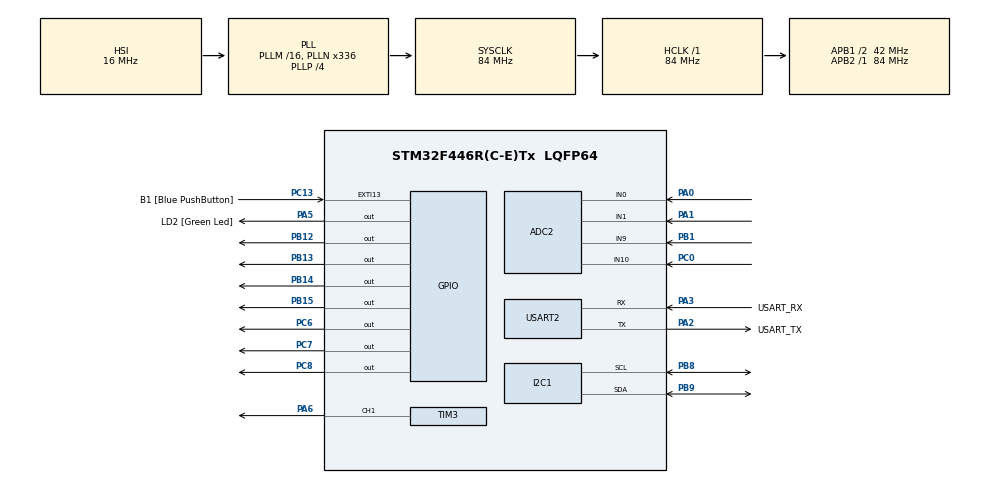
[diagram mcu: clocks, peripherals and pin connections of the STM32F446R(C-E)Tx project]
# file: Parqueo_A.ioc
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ADC2.Channel-1\#ChannelRegularConversion=ADC_CHANNEL_1
ADC2.Channel-2\#ChannelRegularConversion=ADC_CHANNEL_9
ADC2.Channel-3\#ChannelRegularConversion=ADC_CHANNEL_10
ADC2.ContinuousConvMode=ENABLE
ADC2.DMAContinuousRequests=ENABLE
ADC2.EOCSelection=ADC_EOC_SEQ_CONV
ADC2.NbrOfConversion=4
ADC2.NbrOfConversionFlag=1
ADC2.Rank-1\#ChannelRegularConversion=2
ADC2.Rank-2\#ChannelRegularConversion=3
ADC2.Rank-3\#ChannelRegularConversion=4
ADC2.SamplingTime-0\#ChannelRegularConversion=ADC_SAMPLETIME_480CYCLES
ADC2.SamplingTime-1\#ChannelRegularConversion=ADC_SAMPLETIME_480CYCLES
ADC2.SamplingTime-2\#ChannelRegularConversion=ADC_SAMPLETIME_480CYCLES
ADC2.SamplingTime-3\#ChannelRegularConversion=ADC_SAMPLETIME_480CYCLES
ADC2.ScanConvMode=ENABLE
Dma.ADC2.0.Direction=DMA_PERIPH_TO_MEMORY
Dma.ADC2.0.FIFOMode=DMA_FIFOMODE_DISABLE
Dma.ADC2.0.Instance=DMA2_Stream2
Dma.ADC2.0.MemDataAlignment=DMA_MDATAALIGN_HALFWORD
Dma.ADC2.0.MemInc=DMA_MINC_ENABLE
Dma.ADC2.0.Mode=DMA_CIRCULAR
Dma.ADC2.0.PeriphDataAlignment=DMA_PDATAALIGN_HALFWORD
Dma.ADC2.0.PeriphInc=DMA_PINC_DISABLE
Dma.ADC2.0.Priority=DMA_PRIORITY_LOW
Dma.Request0=ADC2
Dma.Request1=TIM3_CH1/TRIG
Dma.TIM3_CH1/TRIG.1.Direction=DMA_MEMORY_TO_PERIPH
Dma.TIM3_CH1/TRIG.1.FIFOMode=DMA_FIFOMODE_DISABLE
Dma.TIM3_CH1/TRIG.1.Instance=DMA1_Stream4
Dma.TIM3_CH1/TRIG.1.MemDataAlignment=DMA_MDATAALIGN_HALFWORD
Dma.TIM3_CH1/TRIG.1.MemInc=DMA_MINC_ENABLE
Dma.TIM3_CH1/TRIG.1.Mode=DMA_NORMAL
Dma.TIM3_CH1/TRIG.1.PeriphDataAlignment=DMA_PDATAALIGN_HALFWORD
Dma.TIM3_CH1/TRIG.1.PeriphInc=DMA_PINC_DISABLE
Dma.TIM3_CH1/TRIG.1.Priority=DMA_PRIORITY_LOW
I2C1.OwnAddress=0x27
Mcu.Family=STM32F4
Mcu.Name=STM32F446R(C-E)Tx
Mcu.Package=LQFP64
NVIC.DMA1_Stream4_IRQn=true\:0\:0\:false\:false\:true\:false\:true\:true
NVIC.DMA2_Stream2_IRQn=true\:0\:0\:false\:false\:true\:false\:true\:true
NVIC.I2C1_ER_IRQn=true\:0\:0\:false\:false\:true\:true\:true\:true
NVIC.I2C1_EV_IRQn=true\:0\:0\:false\:false\:true\:true\:true\:true
NVIC.PriorityGroup=NVIC_PRIORITYGROUP_0
PA0-WKUP.Signal=ADCx_IN0
PA1.Signal=ADCx_IN1
PA13.GPIO_Label=TMS
PA13.Mode=Serial_Wire
PA13.Signal=SYS_JTMS-SWDIO
PA14.GPIO_Label=TCK
PA14.Mode=Serial_Wire
PA14.Signal=SYS_JTCK-SWCLK
PA2.GPIO_Label=USART_TX
PA2.Mode=Asynchronous
PA2.Signal=USART2_TX
PA3.GPIO_Label=USART_RX
PA3.Mode=Asynchronous
PA3.Signal=USART2_RX
PA5.GPIO_Label=LD2 [Green Led]
PA5.Signal=GPIO_Output
PA6.Signal=S_TIM3_CH1
PB1.Signal=ADCx_IN9
PB12.Signal=GPIO_Output
PB13.Signal=GPIO_Output
PB14.Signal=GPIO_Output
PB15.Signal=GPIO_Output
PB3.GPIO_Label=SWO
PB3.Signal=SYS_JTDO-SWO
PB8.GPIO_Pu=GPIO_PULLUP
PB8.Mode=I2C
PB8.Signal=I2C1_SCL
PB9.GPIO_Pu=GPIO_PULLUP
PB9.Mode=I2C
PB9.Signal=I2C1_SDA
PC0.Signal=ADCx_IN10
PC13.GPIO_Label=B1 [Blue PushButton]
PC13.GPIO_ModeDefaultEXTI=GPIO_MODE_IT_FALLING
PC13.Signal=GPXTI13
PC14-OSC32_IN.Mode=LSE-External-Oscillator
PC14-OSC32_IN.Signal=RCC_OSC32_IN
PC15-OSC32_OUT.Mode=LSE-External-Oscillator
PC15-OSC32_OUT.Signal=RCC_OSC32_OUT
PC6.Signal=GPIO_Output
PC7.Signal=GPIO_Output
PC8.Signal=GPIO_Output
PH0-OSC_IN.Mode=HSE-External-Oscillator
PH0-OSC_IN.Signal=RCC_OSC_IN
PH1-OSC_OUT.Mode=HSE-External-Oscillator
PH1-OSC_OUT.Signal=RCC_OSC_OUT
ProjectManager.HeapSize=0x200
ProjectManager.StackSize=0x400
ProjectManager.TargetToolchain=STM32CubeIDE
RCC.48MHZClocksFreq_Value=84000000
RCC.AHBFreq_Value=84000000
RCC.APB1CLKDivider=RCC_HCLK_DIV2
RCC.APB1Freq_Value=42000000
RCC.APB1TimFreq_Value=84000000
RCC.APB2Freq_Value=84000000
RCC.APB2TimFreq_Value=84000000
RCC.CortexFreq_Value=84000000
RCC.FLatency-AdvancedSettings=FLASH_LATENCY_2
RCC.HCLKFreq_Value=84000000
RCC.HSE_VALUE=8000000
RCC.HSI_VALUE=16000000
RCC.PLLN=336
RCC.PLLP=RCC_PLLP_DIV4
RCC.SYSCLKFreq_VALUE=84000000
RCC.SYSCLKSource=RCC_SYSCLKSOURCE_PLLCLK
RCC.USBFreq_Value=168000000
RCC.VCOOutputFreq_Value=336000000
SH.ADCx_IN0.0=ADC2_IN0,IN0
SH.ADCx_IN1.0=ADC2_IN1,IN1
SH.ADCx_IN10.0=ADC2_IN10,IN10
SH.ADCx_IN9.0=ADC2_IN9,IN9
SH.S_TIM3_CH1.0=TIM3_CH1,PWM Generation1 CH1
TIM3.Channel-PWM\ Generation1\ CH1=TIM_CHANNEL_1
TIM3.Period=105-1
USART2.VirtualMode=VM_ASYNC
VP_TIM3_VS_ClockSourceINT.Mode=Internal
board=NUCLEO-F446RE

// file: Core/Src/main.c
/* USER CODE BEGIN Header */
/**
  ******************************************************************************
  * @file           : main.c
  * @brief          : Main program body
  ******************************************************************************
  * @attention
  *
  * Copyright (c) 2026 STMicroelectronics.
  * All rights reserved.
  *
  * This software is licensed under terms that can be found in the LICENSE file
  * in the root directory of this software component.
  * If no LICENSE file comes with this software, it is provided AS-IS.
  *
  ******************************************************************************
  */
/* USER CODE END Header */
#include "main.h"

/* USER CODE BEGIN Includes */
#include "neopixel.h"
/* USER CODE END Includes */

/* USER CODE BEGIN PD */
#define SEG_A_PORT GPIOC
#define SEG_A_PIN  GPIO_PIN_8

#define SEG_B_PORT GPIOC
#define SEG_B_PIN  GPIO_PIN_7

#define SEG_C_PORT GPIOC
#define SEG_C_PIN  GPIO_PIN_6

#define SEG_D_PORT GPIOB
#define SEG_D_PIN  GPIO_PIN_15

#define SEG_E_PORT GPIOB
#define SEG_E_PIN  GPIO_PIN_14

#define SEG_F_PORT GPIOB
#define SEG_F_PIN  GPIO_PIN_13

#define SEG_G_PORT GPIOB
#define SEG_G_PIN  GPIO_PIN_12
/* USER CODE END PD */

ADC_HandleTypeDef hadc2;
DMA_HandleTypeDef hdma_adc2;

I2C_HandleTypeDef hi2c1;

TIM_HandleTypeDef htim3;
DMA_HandleTypeDef hdma_tim3_ch1_trig;

UART_HandleTypeDef huart2;

/* USER CODE BEGIN PV */
volatile uint16_t ADCVal[4];
volatile uint16_t sotA[4];
volatile uint16_t estado[4] = {0,0,0,0};
volatile uint16_t contador = 0;
float brilloled;

#define TXBUFFERSIZE 4
#define RXBUFFERSIZE 4

int count = 0;

uint8_t aTxBuffer [TXBUFFERSIZE];
uint8_t aRxBuffer [RXBUFFERSIZE];
/* USER CODE END PV */

void SystemClock_Config(void);
static void MX_GPIO_Init(void);
static void MX_DMA_Init(void);
static void MX_USART2_UART_Init(void);
static void MX_ADC2_Init(void);
static void MX_I2C1_Init(void);
static void MX_TIM3_Init(void);
/* USER CODE BEGIN PFP */
void display_show(uint8_t numero);
/* USER CODE END PFP */

int main(void)
{

  /* MCU Configuration--------------------------------------------------------*/

  /* Reset of all peripherals, Initializes the Flash interface and the Systick. */
  HAL_Init();

  /* Configure the system clock */
  SystemClock_Config();

  /* Initialize all configured peripherals */
  MX_GPIO_Init();
  MX_DMA_Init();
  MX_USART2_UART_Init();
  MX_ADC2_Init();
  MX_I2C1_Init();
  MX_TIM3_Init();
  /* USER CODE BEGIN 2 */
  HAL_ADC_Start_DMA(&hadc2, (uint32_t *)ADCVal, 4);

  //Inicialización del neopixel y seteo de brillo
  pixelClear();
  setBrightness(50);
  pixelShow();

  //Inicio de I2C y verificación de estabilidad
	if (HAL_I2C_EnableListen_IT(&hi2c1) != HAL_OK) {
	Error_Handler(); //Mandar a error si falla.
	}
  /* USER CODE END 2 */

  /* Infinite loop */
  /* USER CODE BEGIN WHILE */
  while (1)
  {
// Leer las entradas analogicas y mandalos por I2C:
	   for (int i = 0; i < 4; i++)
	   {
		   if (ADCVal[i] < 1600) {
			   aTxBuffer[i] = 1; // Ocupado
			   setPixelColor(i, 255, 0, 0); // Led Rojo
		   } else if (ADCVal[i] > 1800) {
			   aTxBuffer[i] = 0; // Libre
			   setPixelColor(i, 0, 255, 0); // Led Verde
		   }
	   }

	   // Actualizar Neopixeles del Nivel A
	   pixelShow();

	   // Mostrar los valores en el display:
	   uint8_t total_disponibles = aRxBuffer[0];

	   // Verifica si ya se ocuparon todos los espacios antes de mostrarlo en el display.
	   if(total_disponibles <= 8) {
		   display_show(total_disponibles);
	   }

	   HAL_Delay(50);
    /* USER CODE END WHILE */
  }
}

void SystemClock_Config(void)
{
  RCC_OscInitTypeDef RCC_OscInitStruct = {0};
  RCC_ClkInitTypeDef RCC_ClkInitStruct = {0};

  /** Configure the main internal regulator output voltage
  */
  __HAL_RCC_PWR_CLK_ENABLE();
  __HAL_PWR_VOLTAGESCALING_CONFIG(PWR_REGULATOR_VOLTAGE_SCALE3);

  /** Initializes the RCC Oscillators according to the specified parameters
  * in the RCC_OscInitTypeDef structure.
  */
  RCC_OscInitStruct.OscillatorType = RCC_OSCILLATORTYPE_HSI;
  RCC_OscInitStruct.HSIState = RCC_HSI_ON;
  RCC_OscInitStruct.HSICalibrationValue = RCC_HSICALIBRATION_DEFAULT;
  RCC_OscInitStruct.PLL.PLLState = RCC_PLL_ON;
  RCC_OscInitStruct.PLL.PLLSource = RCC_PLLSOURCE_HSI;
  RCC_OscInitStruct.PLL.PLLM = 16;
  RCC_OscInitStruct.PLL.PLLN = 336;
  RCC_OscInitStruct.PLL.PLLP = RCC_PLLP_DIV4;
  RCC_OscInitStruct.PLL.PLLQ = 2;
  RCC_OscInitStruct.PLL.PLLR = 2;
  if (HAL_RCC_OscConfig(&RCC_OscInitStruct) != HAL_OK)
  {
    Error_Handler();
  }

  /** Initializes the CPU, AHB and APB buses clocks
  */
  RCC_ClkInitStruct.ClockType = RCC_CLOCKTYPE_HCLK|RCC_CLOCKTYPE_SYSCLK
                              |RCC_CLOCKTYPE_PCLK1|RCC_CLOCKTYPE_PCLK2;
  RCC_ClkInitStruct.SYSCLKSource = RCC_SYSCLKSOURCE_PLLCLK;
  RCC_ClkInitStruct.AHBCLKDivider = RCC_SYSCLK_DIV1;
  RCC_ClkInitStruct.APB1CLKDivider = RCC_HCLK_DIV2;
  RCC_ClkInitStruct.APB2CLKDivider = RCC_HCLK_DIV1;

  if (HAL_RCC_ClockConfig(&RCC_ClkInitStruct, FLASH_LATENCY_2) != HAL_OK)
  {
    Error_Handler();
  }
}

static void MX_ADC2_Init(void)
{

  ADC_ChannelConfTypeDef sConfig = {0};

  /** Configure the global features of the ADC (Clock, Resolution, Data Alignment and number of conversion)
  */
  hadc2.Instance = ADC2;
  hadc2.Init.ClockPrescaler = ADC_CLOCK_SYNC_PCLK_DIV4;
  hadc2.Init.Resolution = ADC_RESOLUTION_12B;
  hadc2.Init.ScanConvMode = ENABLE;
  hadc2.Init.ContinuousConvMode = ENABLE;
  hadc2.Init.DiscontinuousConvMode = DISABLE;
  hadc2.Init.ExternalTrigConvEdge = ADC_EXTERNALTRIGCONVEDGE_NONE;
  hadc2.Init.ExternalTrigConv = ADC_SOFTWARE_START;
  hadc2.Init.DataAlign = ADC_DATAALIGN_RIGHT;
  hadc2.Init.NbrOfConversion = 4;
  hadc2.Init.DMAContinuousRequests = ENABLE;
  hadc2.Init.EOCSelection = ADC_EOC_SEQ_CONV;
  if (HAL_ADC_Init(&hadc2) != HAL_OK)
  {
    Error_Handler();
  }

  /** Configure for the selected ADC regular channel its corresponding rank in the sequencer and its sample time.
  */
  sConfig.Channel = ADC_CHANNEL_1;
  sConfig.Rank = 2;
  sConfig.SamplingTime = ADC_SAMPLETIME_480CYCLES;
  if (HAL_ADC_ConfigChannel(&hadc2, &sConfig) != HAL_OK)
  {
    Error_Handler();
  }

  /** Configure for the selected ADC regular channel its corresponding rank in the sequencer and its sample time.
  */
  sConfig.Channel = ADC_CHANNEL_9;
  sConfig.Rank = 3;
  if (HAL_ADC_ConfigChannel(&hadc2, &sConfig) != HAL_OK)
  {
    Error_Handler();
  }

  /** Configure for the selected ADC regular channel its corresponding rank in the sequencer and its sample time.
  */
  sConfig.Channel = ADC_CHANNEL_10;
  sConfig.Rank = 4;
  if (HAL_ADC_ConfigChannel(&hadc2, &sConfig) != HAL_OK)
  {
    Error_Handler();
  }

  /** Configure for the selected ADC regular channel its corresponding rank in the sequencer and its sample time.
  */
  sConfig.Channel = ADC_CHANNEL_0;
  sConfig.Rank = 1;
  if (HAL_ADC_ConfigChannel(&hadc2, &sConfig) != HAL_OK)
  {
    Error_Handler();
  }

}

static void MX_I2C1_Init(void)
{

  hi2c1.Instance = I2C1;
  hi2c1.Init.ClockSpeed = 100000;
  hi2c1.Init.DutyCycle = I2C_DUTYCYCLE_2;
  hi2c1.Init.OwnAddress1 = 78;
  hi2c1.Init.AddressingMode = I2C_ADDRESSINGMODE_7BIT;
  hi2c1.Init.DualAddressMode = I2C_DUALADDRESS_DISABLE;
  hi2c1.Init.OwnAddress2 = 0;
  hi2c1.Init.GeneralCallMode = I2C_GENERALCALL_DISABLE;
  hi2c1.Init.NoStretchMode = I2C_NOSTRETCH_DISABLE;
  if (HAL_I2C_Init(&hi2c1) != HAL_OK)
  {
    Error_Handler();
  }

}

static void MX_TIM3_Init(void)
{

  TIM_ClockConfigTypeDef sClockSourceConfig = {0};
  TIM_MasterConfigTypeDef sMasterConfig = {0};
  TIM_OC_InitTypeDef sConfigOC = {0};

  htim3.Instance = TIM3;
  htim3.Init.Prescaler = 0;
  htim3.Init.CounterMode = TIM_COUNTERMODE_UP;
  htim3.Init.Period = 105-1;
  htim3.Init.ClockDivision = TIM_CLOCKDIVISION_DIV1;
  htim3.Init.AutoReloadPreload = TIM_AUTORELOAD_PRELOAD_DISABLE;
  if (HAL_TIM_Base_Init(&htim3) != HAL_OK)
  {
    Error_Handler();
  }
  sClockSourceConfig.ClockSource = TIM_CLOCKSOURCE_INTERNAL;
  if (HAL_TIM_ConfigClockSource(&htim3, &sClockSourceConfig) != HAL_OK)
  {
    Error_Handler();
  }
  if (HAL_TIM_PWM_Init(&htim3) != HAL_OK)
  {
    Error_Handler();
  }
  sMasterConfig.MasterOutputTrigger = TIM_TRGO_RESET;
  sMasterConfig.MasterSlaveMode = TIM_MASTERSLAVEMODE_DISABLE;
  if (HAL_TIMEx_MasterConfigSynchronization(&htim3, &sMasterConfig) != HAL_OK)
  {
    Error_Handler();
  }
  sConfigOC.OCMode = TIM_OCMODE_PWM1;
  sConfigOC.Pulse = 0;
  sConfigOC.OCPolarity = TIM_OCPOLARITY_HIGH;
  sConfigOC.OCFastMode = TIM_OCFAST_DISABLE;
  if (HAL_TIM_PWM_ConfigChannel(&htim3, &sConfigOC, TIM_CHANNEL_1) != HAL_OK)
  {
    Error_Handler();
  }
  HAL_TIM_MspPostInit(&htim3);

}

static void MX_USART2_UART_Init(void)
{

  huart2.Instance = USART2;
  huart2.Init.BaudRate = 115200;
  huart2.Init.WordLength = UART_WORDLENGTH_8B;
  huart2.Init.StopBits = UART_STOPBITS_1;
  huart2.Init.Parity = UART_PARITY_NONE;
  huart2.Init.Mode = UART_MODE_TX_RX;
  huart2.Init.HwFlowCtl = UART_HWCONTROL_NONE;
  huart2.Init.OverSampling = UART_OVERSAMPLING_16;
  if (HAL_UART_Init(&huart2) != HAL_OK)
  {
    Error_Handler();
  }

}

static void MX_DMA_Init(void)
{

  /* DMA controller clock enable */
  __HAL_RCC_DMA2_CLK_ENABLE();
  __HAL_RCC_DMA1_CLK_ENABLE();

  /* DMA interrupt init */
  /* DMA1_Stream4_IRQn interrupt configuration */
  HAL_NVIC_SetPriority(DMA1_Stream4_IRQn, 0, 0);
  HAL_NVIC_EnableIRQ(DMA1_Stream4_IRQn);
  /* DMA2_Stream2_IRQn interrupt configuration */
  HAL_NVIC_SetPriority(DMA2_Stream2_IRQn, 0, 0);
  HAL_NVIC_EnableIRQ(DMA2_Stream2_IRQn);

}

static void MX_GPIO_Init(void)
{
  GPIO_InitTypeDef GPIO_InitStruct = {0};

  /* GPIO Ports Clock Enable */
  __HAL_RCC_GPIOC_CLK_ENABLE();
  __HAL_RCC_GPIOH_CLK_ENABLE();
  __HAL_RCC_GPIOA_CLK_ENABLE();
  __HAL_RCC_GPIOB_CLK_ENABLE();

  /*Configure GPIO pin Output Level */
  HAL_GPIO_WritePin(LD2_GPIO_Port, LD2_Pin, GPIO_PIN_RESET);

  /*Configure GPIO pin Output Level */
  HAL_GPIO_WritePin(GPIOB, GPIO_PIN_12|GPIO_PIN_13|GPIO_PIN_14|GPIO_PIN_15, GPIO_PIN_RESET);

  /*Configure GPIO pin Output Level */
  HAL_GPIO_WritePin(GPIOC, GPIO_PIN_6|GPIO_PIN_7|GPIO_PIN_8, GPIO_PIN_RESET);

  /*Configure GPIO pin : B1_Pin */
  GPIO_InitStruct.Pin = B1_Pin;
  GPIO_InitStruct.Mode = GPIO_MODE_IT_FALLING;
  GPIO_InitStruct.Pull = GPIO_NOPULL;
  HAL_GPIO_Init(B1_GPIO_Port, &GPIO_InitStruct);

  /*Configure GPIO pin : LD2_Pin */
  GPIO_InitStruct.Pin = LD2_Pin;
  GPIO_InitStruct.Mode = GPIO_MODE_OUTPUT_PP;
  GPIO_InitStruct.Pull = GPIO_NOPULL;
  GPIO_InitStruct.Speed = GPIO_SPEED_FREQ_LOW;
  HAL_GPIO_Init(LD2_GPIO_Port, &GPIO_InitStruct);

  /*Configure GPIO pins : PB12 PB13 PB14 PB15 */
  GPIO_InitStruct.Pin = GPIO_PIN_12|GPIO_PIN_13|GPIO_PIN_14|GPIO_PIN_15;
  GPIO_InitStruct.Mode = GPIO_MODE_OUTPUT_PP;
  GPIO_InitStruct.Pull = GPIO_NOPULL;
  GPIO_InitStruct.Speed = GPIO_SPEED_FREQ_LOW;
  HAL_GPIO_Init(GPIOB, &GPIO_InitStruct);

  /*Configure GPIO pins : PC6 PC7 PC8 */
  GPIO_InitStruct.Pin = GPIO_PIN_6|GPIO_PIN_7|GPIO_PIN_8;
  GPIO_InitStruct.Mode = GPIO_MODE_OUTPUT_PP;
  GPIO_InitStruct.Pull = GPIO_NOPULL;
  GPIO_InitStruct.Speed = GPIO_SPEED_FREQ_LOW;
  HAL_GPIO_Init(GPIOC, &GPIO_InitStruct);

}

/* USER CODE BEGIN 4 */
static const uint8_t dig_display[16] =
{
	0x7E, // 0
	0x30, // 1
	0x6D, // 2
	0x79, // 3
	0x33, // 4
	0x5B, // 5
	0x5F, // 6
	0x70, // 7
	0x7F, // 8
	0x7B, // 9
	0x5F, // A
	0x73, // b
	0x66, // C
	0x79, // d
	0x67, // E
	0x47  // F
};

//************************* Función para el orden del 7 Segmentos ************************
void display_show(uint8_t numero)
{
    if (numero >= 16) return;

    //Apagar todos los segmentos primero
    HAL_GPIO_WritePin(GPIOC, GPIO_PIN_6 | GPIO_PIN_7 | GPIO_PIN_8, GPIO_PIN_RESET);
    HAL_GPIO_WritePin(GPIOB, GPIO_PIN_12 | GPIO_PIN_13 | GPIO_PIN_14 | GPIO_PIN_15, GPIO_PIN_RESET);

    uint8_t pattern = dig_display[numero];

    //Escribir nuevo patrón
    HAL_GPIO_WritePin(SEG_A_PORT, SEG_A_PIN, (pattern & (1 << 6)) ? GPIO_PIN_SET : GPIO_PIN_RESET);
    HAL_GPIO_WritePin(SEG_B_PORT, SEG_B_PIN, (pattern & (1 << 5)) ? GPIO_PIN_SET : GPIO_PIN_RESET);
    HAL_GPIO_WritePin(SEG_C_PORT, SEG_C_PIN, (pattern & (1 << 4)) ? GPIO_PIN_SET : GPIO_PIN_RESET);
    HAL_GPIO_WritePin(SEG_D_PORT, SEG_D_PIN, (pattern & (1 << 3)) ? GPIO_PIN_SET : GPIO_PIN_RESET);
    HAL_GPIO_WritePin(SEG_E_PORT, SEG_E_PIN, (pattern & (1 << 2)) ? GPIO_PIN_SET : GPIO_PIN_RESET);
    HAL_GPIO_WritePin(SEG_F_PORT, SEG_F_PIN, (pattern & (1 << 1)) ? GPIO_PIN_SET : GPIO_PIN_RESET);
    HAL_GPIO_WritePin(SEG_G_PORT, SEG_G_PIN, (pattern & (1 << 0)) ? GPIO_PIN_SET : GPIO_PIN_RESET);
}

//****************** Call back para el I2C *******************************
void HAL_I2C_ListenCpltCallback(I2C_HandleTypeDef *hi2c) {
    HAL_I2C_EnableListen_IT(hi2c);
}

void HAL_I2C_SlaveTxCpltCallback(I2C_HandleTypeDef *I2cHandle) {
}

void HAL_I2C_SlaveRxCpltCallback (I2C_HandleTypeDef *I2cHandle) {
}

void HAL_I2C_AddrCallback(I2C_HandleTypeDef*hi2c, uint8_t TransferDirection, uint16_t AddrMatchCode)
{
	if (TransferDirection == I2C_DIRECTION_TRANSMIT){ // Enviar al maestro los datos
		if(HAL_I2C_Slave_Seq_Receive_IT(&hi2c1,(uint8_t*) aRxBuffer,4,I2C_FIRST_AND_LAST_FRAME)!=HAL_OK)
		{
			 HAL_I2C_EnableListen_IT(&hi2c1);
		}
	}
	else if (TransferDirection == I2C_DIRECTION_RECEIVE){ // Maestro quiere leer
		if(HAL_I2C_Slave_Seq_Transmit_IT(&hi2c1,(uint8_t*) aTxBuffer,4,I2C_FIRST_AND_LAST_FRAME)!=HAL_OK)
		{
			 HAL_I2C_EnableListen_IT(&hi2c1);
		}
	}
}

void HAL_I2C_ErrorCallback(I2C_HandleTypeDef *I2cHandle) {
	if (HAL_I2C_GetError(I2cHandle) != HAL_I2C_ERROR_AF) {
	    // Error_Handler();
        HAL_I2C_EnableListen_IT(&hi2c1); // Volver a escuchar el I2C
	}
}
/* USER CODE END 4 */

void Error_Handler(void)
{
  __disable_irq();
  while (1)
  {
  }
}
